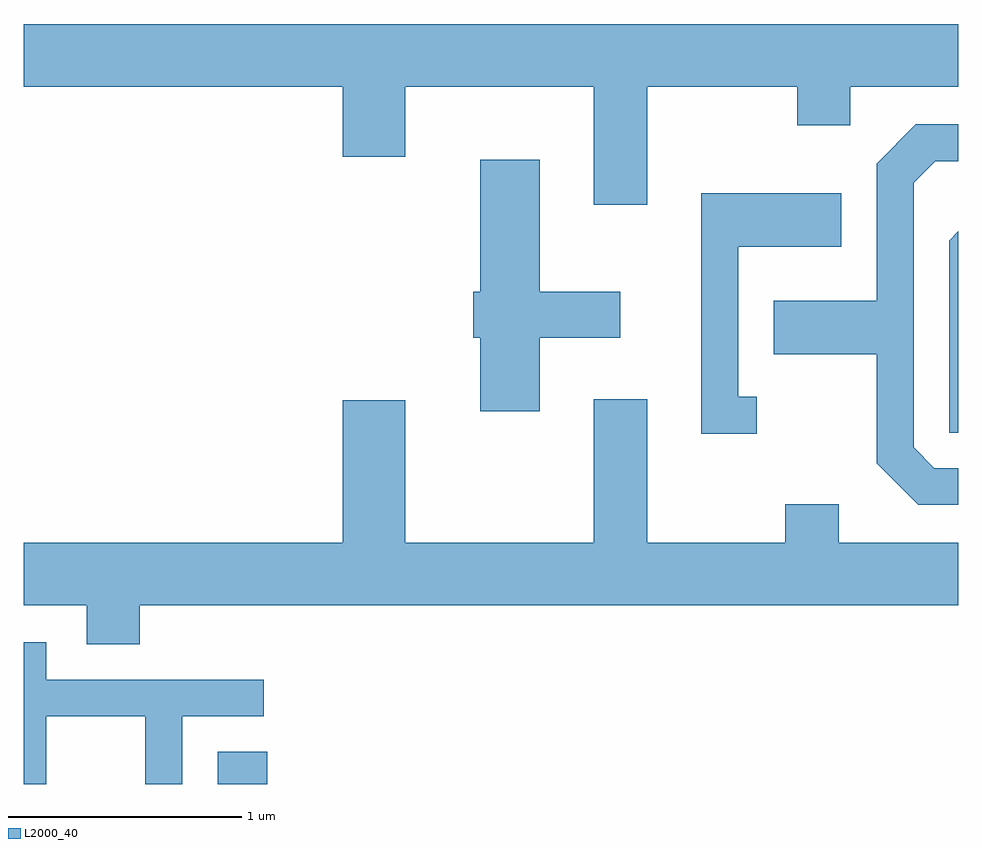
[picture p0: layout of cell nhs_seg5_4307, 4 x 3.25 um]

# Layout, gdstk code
import gdstk
lib = gdstk.Library(unit=1e-6, precision=1e-09)
def R(c, l, rs):  # rectangles x0, y0, x1, y1
    for r in rs: c.add(gdstk.rectangle(r[:2], r[2:], *l))
def P(c, l, *ps):  # polygons
    for p in ps: c.add(gdstk.Polygon(p, *l))
L2000_40 = (2000, 40)

nhs_seg5_4307 = lib.new_cell('nhs_seg5_4307')
R(nhs_seg5_4307, L2000_40, [(314.441,1416.072,314.654,1416.209)])
P(nhs_seg5_4307, L2000_40, [(316.279,1419.056),(316.921,1419.056),(316.921,1418.891),(317.149,1418.891),(317.149,1419.056),(317.611,1419.056),(317.611,1419.324),(313.611,1419.324),(313.611,1419.056),(314.976,1419.056),(314.976,1418.756),(315.244,1418.756),(315.244,1419.056),(316.051,1419.056),(316.051,1418.551),(316.279,1418.551)],
  [(317.611,1417.424),(317.507,1417.424),(317.419,1417.512),(317.419,1418.644),(317.512,1418.736),(317.611,1418.736),(317.611,1418.894),(317.429,1418.894),(317.261,1418.727),(317.261,1418.139),(316.821,1418.139),(316.821,1417.911),(317.261,1417.911),(317.261,1417.444),(317.439,1417.266),(317.611,1417.266)],
  [(315.819,1417.981),(316.164,1417.981),(316.164,1418.179),(315.819,1418.179),(315.819,1418.744),(315.566,1418.744),(315.566,1418.179),(315.536,1418.179),(315.536,1417.981),(315.566,1417.981),(315.566,1417.666),(315.819,1417.666)],
  [(316.748,1417.729),(316.669,1417.729),(316.669,1418.371),(317.109,1418.371),(317.109,1418.599),(316.511,1418.599),(316.511,1417.571),(316.748,1417.571)],
  [(317.611,1418.437),(317.571,1418.397),(317.571,1417.576),(317.611,1417.576)],
  [(314.109,1416.836),(317.611,1416.836),(317.611,1417.104),(317.099,1417.104),(317.099,1417.269),(316.871,1417.269),(316.871,1417.104),(316.279,1417.104),(316.279,1417.719),(316.051,1417.719),(316.051,1417.104),(315.244,1417.104),(315.244,1417.714),(314.976,1417.714),(314.976,1417.104),(313.611,1417.104),(313.611,1416.836),(313.881,1416.836),(313.881,1416.671),(314.109,1416.671)],
  [(313.709,1416.361),(314.131,1416.361),(314.131,1416.072),(314.289,1416.072),(314.289,1416.361),(314.638,1416.361),(314.638,1416.519),(313.709,1416.519),(313.709,1416.679),(313.611,1416.679),(313.611,1416.072),(313.709,1416.072)])

lib.write_gds('nhs_seg5_4307.gds')
